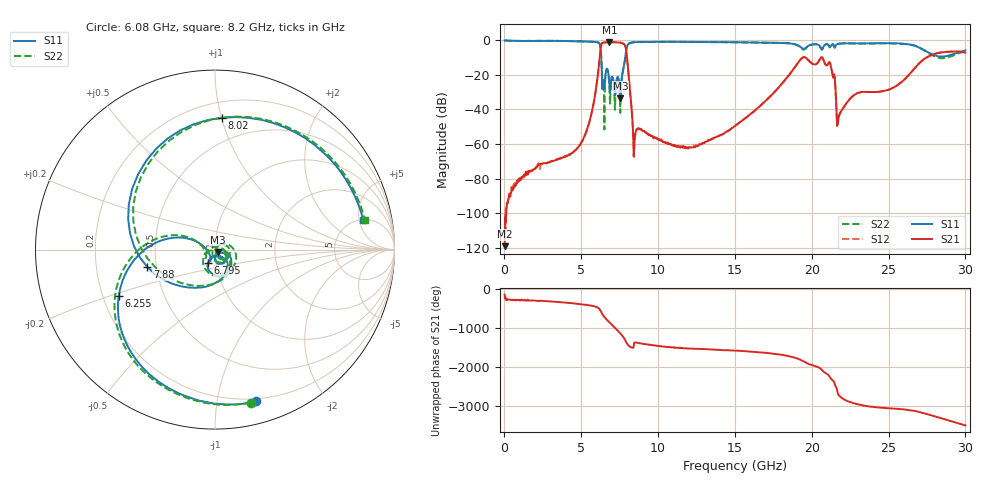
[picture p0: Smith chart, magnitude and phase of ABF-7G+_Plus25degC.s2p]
! Mini-Circuits
! S2P DATA File Format
! Type: BAND PASS FILTER
! Model: ABF-7G+
! All S Parameters are in dB deg format
! TEST CONDITIONS: INPUT POWER = 0 dBm - +25 deg C
# MHZ S DB R 50
!Frequency  S11 dB  S11 DEG  S21 dB  S21 DEG  S12 dB  S12 DEG  S22 dB  S22 DEG
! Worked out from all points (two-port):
!   1169 points, 10 MHz to 30 GHz, reference 50 ohm
!   highest |S21| = -1.02 dB at 6.835 GHz (marker M1); lowest = -119.2 dB at 10 MHz (marker M2)
!   |S21| within 3 dB of the highest: 6.273 GHz to 7.879 GHz (1.606 GHz wide, 22.7 % of centre)
!   lowest |S11| = -33.6 dB at 7.545 GHz (marker M3), VSWR 1.04, Z = 51.6 - j1.37 ohm
!   |S11| at or under -10 dB: 6.302 GHz to 7.854 GHz (1.552 GHz wide, 21.9 % of centre)
!   |S22| runs from -51.6 to -0.1 dB; largest |S21 - S12| = 0.005
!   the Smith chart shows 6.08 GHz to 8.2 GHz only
!   S11 on the Smith chart (normalised r, x): 6.08 GHz: 0.18, -1.29; 6.255 GHz: 0.27, -0.21; 6.795 GHz: 0.91, -0.14; 7.88 GHz: 0.44, -0.10; 8.02 GHz: 0.31, +1.00; 8.2 GHz: 5.02, +5.75
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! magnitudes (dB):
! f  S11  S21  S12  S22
! 10 MHz  -0.1  -119.2  -100.0  -0.1
! 5.01 GHz  -0.6  -59.0  -58.9  -0.6
! 6.08 GHz  -1.1  -19.9  -20.0  -1.2
! 6.255 GHz  -4.5  -5.2  -5.2  -4.5
! 6.5 GHz  -28.5  -1.2  -1.2  -47.4
! 6.61 GHz  -17.9  -1.2  -1.2  -18.1
! 6.795 GHz  -21.4  -1.1  -1.1  -22.0
! 6.835 GHz  -26.1  -1.0  -1.0  -28.2
! 7.19 GHz  -32.0  -1.1  -1.1  -40.2
! 7.39 GHz  -21.2  -1.2  -1.2  -21.3
! 7.545 GHz  -33.6  -1.3  -1.3  -40.8
! 7.88 GHz  -8.2  -4.0  -4.1  -8.4
! 8.02 GHz  -2.7  -14.1  -14.1  -2.5
! 8.2 GHz  -1.5  -31.8  -31.8  -1.4
! 8.42 GHz  -1.1  -67.4  -67.3  -1.1
! 10.03 GHz  -0.9  -57.4  -57.5  -0.9
! 15.05 GHz  -1.1  -49.2  -49.2  -1.2
! 20.05 GHz  -2.3  -13.6  -13.6  -2.4
! 21.25 GHz  -3.1  -15.2  -15.2  -3.4
! 21.85 GHz  -1.8  -42.0  -42.1  -1.8
! 25.05 GHz  -1.7  -28.4  -28.4  -1.8
! 30 GHz  -5.8  -7.1  -7.1  -6.4
